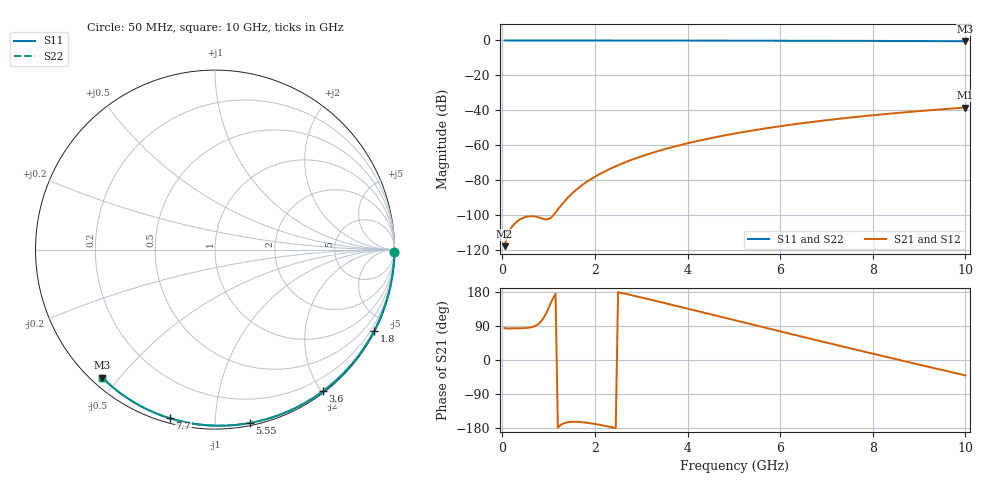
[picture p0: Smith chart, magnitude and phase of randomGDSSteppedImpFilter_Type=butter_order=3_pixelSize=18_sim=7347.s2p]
! freq	dB(S11)	phase(S11)	dB(S12)	phase(S12)
!  dB(S21)	phase(S21)	dB(S22)	phase(S22)
!S-par simulation data
#  GHz  S  DB  R 50
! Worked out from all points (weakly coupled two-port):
!   200 points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, 50 MHz to 10 GHz, reference 50 ohm
!   highest |S21| = -38.40 dB at 10 GHz (marker M1); lowest = -117.8 dB at 50 MHz (marker M2)
!   lowest |S11| = -0.4 dB at 10 GHz (marker M3), VSWR 39.14, Z = 1.54 - j22.6 ohm
!   |S11| at or under -10 dB: nowhere
!   |S22| runs from -0.4 to 0.0 dB; largest |S21 - S12| = 0
!   S11 on the Smith chart (normalised r, x): 50 MHz: open; 1.8 GHz: 0.04, -4.18; 3.6 GHz: 0.02, -2.02; 5.55 GHz: 0.02, -1.22; 7.7 GHz: 0.02, -0.77; 10 GHz: 0.03, -0.45
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0.05  -0.00 -0.8  -117.76 84.3  -117.76 84.3  -0.00 -0.8
0.9  -0.02 -13.6  -102.25 113.0  -102.25 113.0  -0.02 -13.6
1.75  -0.03 -26.2  -82.31 -164.4  -82.31 -164.4  -0.03 -26.2
1.8  -0.03 -26.9  -81.37 -165.1  -81.37 -165.1  -0.03 -26.9
1.85  -0.04 -27.6  -80.49 -165.9  -80.49 -165.9  -0.04 -27.6
1.9  -0.04 -28.4  -79.64 -166.8  -79.64 -166.8  -0.04 -28.4
2.05  -0.04 -30.6  -77.27 -169.9  -77.27 -169.9  -0.04 -30.6
2.25  -0.04 -33.5  -74.48 -174.6  -74.48 -174.6  -0.04 -33.5
2.45  -0.05 -36.4  -72.01 -179.7  -72.01 -179.7  -0.05 -36.4
2.65  -0.05 -39.2  -69.79 174.9  -69.79 174.9  -0.05 -39.2
3  -0.06 -44.2  -66.39 165.0  -66.39 165.0  -0.06 -44.2
3.4  -0.07 -49.8  -63.05 153.4  -63.05 153.4  -0.07 -49.8
3.6  -0.07 -52.6  -61.56 147.5  -61.56 147.5  -0.07 -52.6
4.3  -0.09 -62.2  -57.06 126.6  -57.06 126.6  -0.09 -62.2
5.05  -0.11 -72.1  -53.13 104.0  -53.13 104.0  -0.11 -72.1
5.55  -0.13 -78.6  -50.90 89.0  -50.90 89.0  -0.13 -78.6
6.1  -0.15 -85.6  -48.72 72.6  -48.72 72.6  -0.15 -85.5
6.7  -0.18 -93.0  -46.61 54.7  -46.61 54.7  -0.18 -93.0
7.7  -0.24 -105.0  -43.61 25.4  -43.61 25.4  -0.24 -104.9
8.35  -0.29 -112.5  -41.93 6.5  -41.93 6.5  -0.29 -112.5
9.15  -0.36 -121.7  -40.10 -16.5  -40.10 -16.5  -0.36 -121.7
10  -0.44 -131.3  -38.40 -40.8  -38.40 -40.8  -0.44 -131.3
